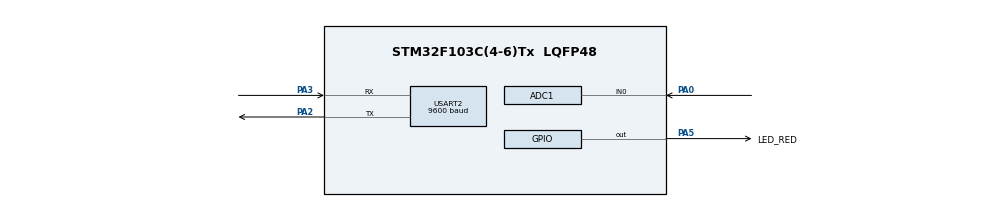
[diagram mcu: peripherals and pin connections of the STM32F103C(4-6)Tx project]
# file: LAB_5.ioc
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ADC1.Channel-0\#ChannelRegularConversion=ADC_CHANNEL_0
ADC1.ContinuousConvMode=ENABLE
ADC1.NbrOfConversionFlag=1
ADC1.Rank-0\#ChannelRegularConversion=1
ADC1.SamplingTime-0\#ChannelRegularConversion=ADC_SAMPLETIME_1CYCLE_5
ADC1.master=1
Mcu.Family=STM32F1
Mcu.Name=STM32F103C(4-6)Tx
Mcu.Package=LQFP48
NVIC.PriorityGroup=NVIC_PRIORITYGROUP_4
NVIC.TIM2_IRQn=true\:0\:0\:false\:false\:true\:true\:true
NVIC.USART2_IRQn=true\:0\:0\:false\:false\:true\:true\:true
PA0-WKUP.Signal=ADCx_IN0
PA2.Mode=Asynchronous
PA2.Signal=USART2_TX
PA3.Mode=Asynchronous
PA3.Signal=USART2_RX
PA5.GPIO_Label=LED_RED
PA5.Signal=GPIO_Output
ProjectManager.HeapSize=0x200
ProjectManager.StackSize=0x400
ProjectManager.TargetToolchain=STM32CubeIDE
RCC.APB1Freq_Value=8000000
RCC.APB2Freq_Value=8000000
SH.ADCx_IN0.0=ADC1_IN0,IN0
TIM2.Period=9
TIM2.Prescaler=7999
USART2.BaudRate=9600
USART2.VirtualMode=VM_ASYNC
VP_SYS_VS_ND.Mode=No_Debug
VP_TIM2_VS_ClockSourceINT.Mode=Internal
board=custom

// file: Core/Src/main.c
/* USER CODE BEGIN Header */
/**
  ******************************************************************************
  * @file           : main.c
  * @brief          : Main program body
  ******************************************************************************
  * @attention
  *
  * <h2><center>&copy; Copyright (c) 2024 STMicroelectronics.
  * All rights reserved.</center></h2>
  *
  * This software component is licensed by ST under BSD 3-Clause license,
  * the "License"; You may not use this file except in compliance with the
  * License. You may obtain a copy of the License at:
  *                        opensource.org/licenses/BSD-3-Clause
  *
  ******************************************************************************
  */
/* USER CODE END Header */
#include "main.h"

/* USER CODE BEGIN Includes */
#include "software_timer.h"
#include "string.h"
#include <stdio.h>
//#include "fms.h"
/* USER CODE END Includes */

/* USER CODE BEGIN PD */
#define MAX_BUFFER_SIZE 30
#define RST 1
#define OK 2
#define THREE_SECOND 3
/* USER CODE END PD */

ADC_HandleTypeDef hadc1;

TIM_HandleTypeDef htim2;

UART_HandleTypeDef huart2;

void SystemClock_Config(void);
static void MX_GPIO_Init(void);
static void MX_ADC1_Init(void);
static void MX_USART2_UART_Init(void);
static void MX_TIM2_Init(void);

/* USER CODE BEGIN 0 */
uint8_t temp = 0;  // Biến để lưu dữ liệu nhận từ UART
uint8_t buffer[MAX_BUFFER_SIZE];  // Bộ đệm để lưu dữ liệu nhận từ UART
uint8_t index_buffer = 0;  // Chỉ số hiện tại của bộ đệm
uint8_t buffer_flag = 0;  // C�? để đánh dấu dữ liệu đã được nhận hoàn tất
int command_state = THREE_SECOND;
uint8_t command_data[MAX_BUFFER_SIZE];
static uint32_t last_adc_value = 0;
static uint32_t adc_value = 0;
	 	char adc_response[20];
	 	int time_wait = 5000;
void HAL_UART_RxCpltCallback(UART_HandleTypeDef *huart)
{
    if (huart->Instance == USART2)  // Kiểm tra nếu là UART2
    {
        // Lưu dữ liệu nhận được vào buffer tại vị trí index_buffer
    	HAL_UART_Transmit(&huart2, &temp, 1, 50);
        buffer[index_buffer++] = temp;
        //command_parser_fsm(buffer,index_buffer);
        // Nếu bộ đệm đầy, reset chỉ số v�? 0
        if (index_buffer == MAX_BUFFER_SIZE)
        {
            index_buffer = 0;
        }
    }

    // �?ặt c�? buffer_flag thành 1 để đánh dấu dữ liệu đã được nhận
    buffer_flag = 1;

    // Tiếp tục nhận dữ liệu từ UART (bật chế độ ngắt nhận UART)
    HAL_UART_Receive_IT(&huart2, &temp, 1);
}

void command_parser_fsm(){
	 static uint8_t cmd_index = 0;
	    static uint8_t is_parsing = 0;

	    char c = buffer[index_buffer - 1];  // Lấy ký tự mới nhất từ buffer

	    if (c == '!') {  // Bắt đầu chuỗi lệnh
	        is_parsing = 1;
	        cmd_index = 0;
	        command_data[cmd_index++] = c;
	    } else if (is_parsing) {
	        command_data[cmd_index++] = c;
	        if (c == '#') {  // Kết thúc chuỗi lệnh
	            is_parsing = 0;
	            command_data[cmd_index] = '\0';  // Kết thúc chuỗi lệnh

	            // Kiểm tra chuỗi lệnh
	            if (strcmp((char *)command_data, "!RST#") == 0) {
	                command_state = RST;  // Yêu cầu gửi giá trị ADC
	            } else if (strcmp((char *)command_data, "!OK#") == 0) {
	                command_state = OK;  // Đánh dấu kết thúc giao tiếp
	            }
	        }
	    }

	    // Reset index_buffer khi đạt giới hạn
	    if (index_buffer >= MAX_BUFFER_SIZE) {
	        index_buffer = 0;
	    }
}

void  uart_communiation_fsm(){
		switch (command_state) {
			case RST:
				 adc_value = HAL_ADC_GetValue(&hadc1);

				            // Gửi giá trị ADC qua UART theo định dạng !ADC=xxxx#

				 snprintf(adc_response, sizeof(adc_response), "!ADC=%lu#\r\n", (uint32_t)adc_value);
				 HAL_UART_Transmit(&huart2, (uint8_t *)adc_response, strlen(adc_response), 100);

				            // Lưu giá trị ADC vào last_adc_value
				  last_adc_value = adc_value;

				            // Chuyển trạng thái chờ !OK#
				 command_state = THREE_SECOND;
				  setTimer(0, 3000);
				break;
			case OK:
				HAL_GPIO_TogglePin(LED_RED_GPIO_Port, LED_RED_Pin);
				 command_state = OK;
				 setTimer(0, time_wait);
				break;

			case THREE_SECOND:
					if(isTimerExpired(0)==1){
				 snprintf(adc_response, sizeof(adc_response), "!ADC=%lu#\r\n", (uint32_t)last_adc_value);
				 HAL_UART_Transmit(&huart2, (uint8_t *)adc_response, strlen(adc_response), 100);
				 setTimer(0, time_wait);}
				break;
			default:
				break;
		}
}
/* USER CODE END 0 */

int main(void)
{

  /* MCU Configuration--------------------------------------------------------*/

  /* Reset of all peripherals, Initializes the Flash interface and the Systick. */
  HAL_Init();

  /* Configure the system clock */
  SystemClock_Config();

  /* Initialize all configured peripherals */
  MX_GPIO_Init();
  MX_ADC1_Init();
  MX_USART2_UART_Init();
  MX_TIM2_Init();
  /* USER CODE BEGIN 2 */
 HAL_UART_Receive_IT(&huart2, &temp, 1);
  HAL_TIM_Base_Start_IT(&htim2);
  HAL_UART_RxCpltCallback(&huart2);
  HAL_ADC_Start(&hadc1);
  //HAL_ADC_GetValue(&hadc1);
  command_state = THREE_SECOND;
  /* USER CODE END 2 */
  setTimer(0, time_wait);
  /* Infinite loop */
  while (1)
  {
	  if (buffer_flag == 1) {
	          command_parser_fsm();  // Phân tích lệnh
	          buffer_flag = 0;       // Reset cờ nhận buffer
	      }
	      uart_communiation_fsm();
  }
}

void SystemClock_Config(void)
{
  RCC_OscInitTypeDef RCC_OscInitStruct = {0};
  RCC_ClkInitTypeDef RCC_ClkInitStruct = {0};
  RCC_PeriphCLKInitTypeDef PeriphClkInit = {0};

  /** Initializes the RCC Oscillators according to the specified parameters
  * in the RCC_OscInitTypeDef structure.
  */
  RCC_OscInitStruct.OscillatorType = RCC_OSCILLATORTYPE_HSI;
  RCC_OscInitStruct.HSIState = RCC_HSI_ON;
  RCC_OscInitStruct.HSICalibrationValue = RCC_HSICALIBRATION_DEFAULT;
  RCC_OscInitStruct.PLL.PLLState = RCC_PLL_NONE;
  if (HAL_RCC_OscConfig(&RCC_OscInitStruct) != HAL_OK)
  {
    Error_Handler();
  }
  /** Initializes the CPU, AHB and APB buses clocks
  */
  RCC_ClkInitStruct.ClockType = RCC_CLOCKTYPE_HCLK|RCC_CLOCKTYPE_SYSCLK
                              |RCC_CLOCKTYPE_PCLK1|RCC_CLOCKTYPE_PCLK2;
  RCC_ClkInitStruct.SYSCLKSource = RCC_SYSCLKSOURCE_HSI;
  RCC_ClkInitStruct.AHBCLKDivider = RCC_SYSCLK_DIV1;
  RCC_ClkInitStruct.APB1CLKDivider = RCC_HCLK_DIV1;
  RCC_ClkInitStruct.APB2CLKDivider = RCC_HCLK_DIV1;

  if (HAL_RCC_ClockConfig(&RCC_ClkInitStruct, FLASH_LATENCY_0) != HAL_OK)
  {
    Error_Handler();
  }
  PeriphClkInit.PeriphClockSelection = RCC_PERIPHCLK_ADC;
  PeriphClkInit.AdcClockSelection = RCC_ADCPCLK2_DIV2;
  if (HAL_RCCEx_PeriphCLKConfig(&PeriphClkInit) != HAL_OK)
  {
    Error_Handler();
  }
}

static void MX_ADC1_Init(void)
{

  ADC_ChannelConfTypeDef sConfig = {0};

  /** Common config
  */
  hadc1.Instance = ADC1;
  hadc1.Init.ScanConvMode = ADC_SCAN_DISABLE;
  hadc1.Init.ContinuousConvMode = ENABLE;
  hadc1.Init.DiscontinuousConvMode = DISABLE;
  hadc1.Init.ExternalTrigConv = ADC_SOFTWARE_START;
  hadc1.Init.DataAlign = ADC_DATAALIGN_RIGHT;
  hadc1.Init.NbrOfConversion = 1;
  if (HAL_ADC_Init(&hadc1) != HAL_OK)
  {
    Error_Handler();
  }
  /** Configure Regular Channel
  */
  sConfig.Channel = ADC_CHANNEL_0;
  sConfig.Rank = ADC_REGULAR_RANK_1;
  sConfig.SamplingTime = ADC_SAMPLETIME_1CYCLE_5;
  if (HAL_ADC_ConfigChannel(&hadc1, &sConfig) != HAL_OK)
  {
    Error_Handler();
  }

}

static void MX_TIM2_Init(void)
{

  TIM_ClockConfigTypeDef sClockSourceConfig = {0};
  TIM_MasterConfigTypeDef sMasterConfig = {0};

  htim2.Instance = TIM2;
  htim2.Init.Prescaler = 7999;
  htim2.Init.CounterMode = TIM_COUNTERMODE_UP;
  htim2.Init.Period = 9;
  htim2.Init.ClockDivision = TIM_CLOCKDIVISION_DIV1;
  htim2.Init.AutoReloadPreload = TIM_AUTORELOAD_PRELOAD_DISABLE;
  if (HAL_TIM_Base_Init(&htim2) != HAL_OK)
  {
    Error_Handler();
  }
  sClockSourceConfig.ClockSource = TIM_CLOCKSOURCE_INTERNAL;
  if (HAL_TIM_ConfigClockSource(&htim2, &sClockSourceConfig) != HAL_OK)
  {
    Error_Handler();
  }
  sMasterConfig.MasterOutputTrigger = TIM_TRGO_RESET;
  sMasterConfig.MasterSlaveMode = TIM_MASTERSLAVEMODE_DISABLE;
  if (HAL_TIMEx_MasterConfigSynchronization(&htim2, &sMasterConfig) != HAL_OK)
  {
    Error_Handler();
  }

}

static void MX_USART2_UART_Init(void)
{

  huart2.Instance = USART2;
  huart2.Init.BaudRate = 9600;
  huart2.Init.WordLength = UART_WORDLENGTH_8B;
  huart2.Init.StopBits = UART_STOPBITS_1;
  huart2.Init.Parity = UART_PARITY_NONE;
  huart2.Init.Mode = UART_MODE_TX_RX;
  huart2.Init.HwFlowCtl = UART_HWCONTROL_NONE;
  huart2.Init.OverSampling = UART_OVERSAMPLING_16;
  if (HAL_UART_Init(&huart2) != HAL_OK)
  {
    Error_Handler();
  }

}

static void MX_GPIO_Init(void)
{
  GPIO_InitTypeDef GPIO_InitStruct = {0};

  /* GPIO Ports Clock Enable */
  __HAL_RCC_GPIOA_CLK_ENABLE();

  /*Configure GPIO pin Output Level */
  HAL_GPIO_WritePin(LED_RED_GPIO_Port, LED_RED_Pin, GPIO_PIN_RESET);

  /*Configure GPIO pin : LED_RED_Pin */
  GPIO_InitStruct.Pin = LED_RED_Pin;
  GPIO_InitStruct.Mode = GPIO_MODE_OUTPUT_PP;
  GPIO_InitStruct.Pull = GPIO_NOPULL;
  GPIO_InitStruct.Speed = GPIO_SPEED_FREQ_LOW;
  HAL_GPIO_Init(LED_RED_GPIO_Port, &GPIO_InitStruct);

}
//int counter = 100;
/* USER CODE BEGIN 4 */
void HAL_TIM_PeriodElapsedCallback(TIM_HandleTypeDef *htim){
	timerRun();
//	counter--;
//	if(counter==0){
//		HAL_GPIO_TogglePin(LED_RED_GPIO_Port, LED_RED_Pin);
//		counter = 100;
//	}
	//getKeyInput();
}
/* USER CODE END 4 */

void Error_Handler(void)
{
  __disable_irq();
  while (1)
  {
  }
}

/************************ (C) COPYRIGHT STMicroelectronics *****END OF FILE****/
